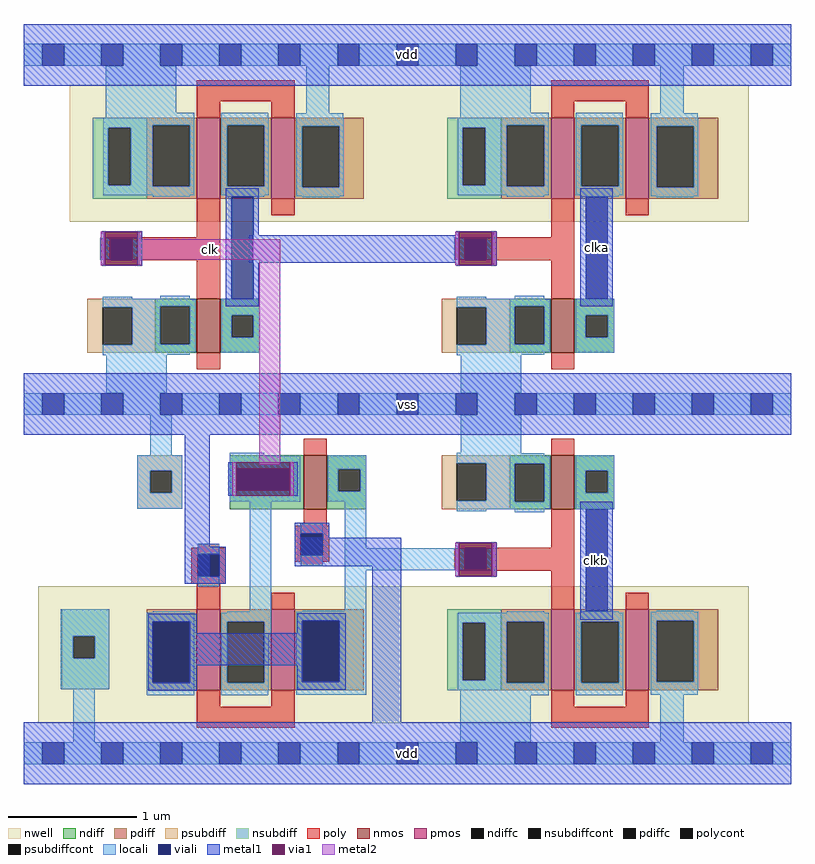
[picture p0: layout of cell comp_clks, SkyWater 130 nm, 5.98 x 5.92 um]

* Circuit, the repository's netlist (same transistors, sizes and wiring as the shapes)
* SPICE3 file created from comp_clks.ext - technology: sky130A

X0 clkt GND clk vdda sky130_fd_pr__pfet_01v8 ad=0p pd=0u as=0p ps=0u w=630000u l=180000u
X1 clk GND clkt vdda sky130_fd_pr__pfet_01v8 ad=0p pd=0u as=0p ps=0u w=630000u l=180000u
X2 clkt vdda clk GND sky130_fd_pr__nfet_01v8 ad=0p pd=0u as=0p ps=0u w=420000u l=180000u
X3 clki clk GND GND sky130_fd_pr__nfet_01v8 ad=0p pd=0u as=0p ps=0u w=420000u l=180000u
X4 vdda clk clki vdda sky130_fd_pr__pfet_01v8 ad=0p pd=0u as=0p ps=0u w=630000u l=180000u
X5 clki clk vdda vdda sky130_fd_pr__pfet_01v8 ad=0p pd=0u as=0p ps=0u w=630000u l=180000u
X6 clka clki GND GND sky130_fd_pr__nfet_01v8 ad=0p pd=0u as=0p ps=0u w=420000u l=180000u
X7 vdda clki clka vdda sky130_fd_pr__pfet_01v8 ad=0p pd=0u as=0p ps=0u w=630000u l=180000u
X8 clka clki vdda vdda sky130_fd_pr__pfet_01v8 ad=0p pd=0u as=0p ps=0u w=630000u l=180000u
X9 clkb clkt GND GND sky130_fd_pr__nfet_01v8 ad=0p pd=0u as=0p ps=0u w=420000u l=180000u
X10 vdda clkt clkb vdda sky130_fd_pr__pfet_01v8 ad=0p pd=0u as=0p ps=0u w=630000u l=180000u
X11 clkb clkt vdda vdda sky130_fd_pr__pfet_01v8 ad=0p pd=0u as=0p ps=0u w=630000u l=180000u

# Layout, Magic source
magic
tech sky130B
magscale 1 2
<< nwell >>
rect 577 332 627 545
rect 576 -449 630 -236
<< locali >>
rect 530 -211 674 -177
<< metal1 >>
rect 0 544 1196 640
rect 351 268 677 311
rect 867 200 918 384
rect 0 0 1196 96
rect 251 -232 290 0
rect 422 -205 588 -160
rect 543 -448 588 -205
rect 867 -288 918 -104
rect 0 -544 1196 -448
<< metal2 >>
rect 182 273 400 305
rect 367 -47 400 273
use inverter  inverter_0
transform 1 0 276 0 1 128
box -276 -128 368 512
use inverter  inverter_1
transform 1 0 828 0 1 128
box -276 -128 368 512
use inverter  inverter_2
transform 1 0 828 0 -1 -32
box -276 -128 368 512
use tg  tg_0
transform 1 0 276 0 -1 -32
box -276 -128 368 512
<< labels >>
flabel metal1 0 544 1196 640 1 FreeSans 320 0 0 0 vdd
port 1 n default bidirectional
flabel metal1 0 -544 1196 -448 1 FreeSans 320 0 0 0 vdd
flabel metal1 0 0 1196 96 1 FreeSans 320 0 0 0 vss
port 2 n default bidirectional
flabel metal2 182 273 400 305 1 FreeSans 320 0 0 0 clk
port 3 n default input
flabel metal1 867 200 918 384 1 FreeSans 320 0 0 0 clka
port 4 n default output
flabel metal1 867 -288 918 -104 1 FreeSans 320 0 0 0 clkb
port 5 n default output
<< end >>

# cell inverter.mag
magic
tech sky130B
magscale 1 2
<< nwell >>
rect -204 204 302 417
<< nmos >>
rect -6 0 30 84
<< pmos >>
rect -6 240 30 366
rect 110 240 146 366
<< ndiff >>
rect -71 72 -6 84
rect -71 13 -63 72
rect -17 13 -6 72
rect -71 0 -6 13
rect 30 58 92 84
rect 30 24 48 58
rect 82 24 92 58
rect 30 0 92 24
<< pdiff >>
rect -84 354 -6 366
rect -84 259 -75 354
rect -17 259 -6 354
rect -84 240 -6 259
rect 30 354 110 366
rect 30 259 41 354
rect 99 259 110 354
rect 30 240 110 259
rect 146 353 254 366
rect 146 258 158 353
rect 216 258 254 353
rect 146 240 254 258
<< ndiffc >>
rect -63 13 -17 72
rect 48 24 82 58
<< pdiffc >>
rect -75 259 -17 354
rect 41 259 99 354
rect 158 258 216 353
<< psubdiff >>
rect -177 71 -71 84
rect -177 12 -153 71
rect -107 12 -71 71
rect -177 0 -71 12
<< nsubdiff >>
rect -168 350 -84 366
rect -168 261 -144 350
rect -109 261 -84 350
rect -168 240 -84 261
<< psubdiffcont >>
rect -153 12 -107 71
<< nsubdiffcont >>
rect -144 261 -109 350
<< poly >>
rect -6 392 146 424
rect -6 366 30 392
rect 110 366 146 392
rect -151 180 -95 189
rect -6 180 30 240
rect 110 214 146 240
rect -151 179 30 180
rect -157 145 -141 179
rect -107 145 30 179
rect -151 144 30 145
rect -151 135 -95 144
rect -6 84 30 144
rect -6 -26 30 0
<< polycont >>
rect -141 145 -107 179
<< locali >>
rect -276 447 -247 481
rect -213 447 -155 481
rect -121 447 -63 481
rect -29 447 29 481
rect 63 447 121 481
rect 155 447 213 481
rect 247 447 305 481
rect 339 447 368 481
rect -148 374 -38 447
rect -148 366 -10 374
rect -152 354 -10 366
rect -152 350 -75 354
rect -152 261 -144 350
rect -109 261 -75 350
rect -152 259 -75 261
rect -17 259 -10 354
rect -152 245 -10 259
rect 32 366 105 374
rect 164 373 200 447
rect 32 354 106 366
rect 32 259 41 354
rect 99 259 106 354
rect 32 245 106 259
rect 149 365 222 373
rect 149 353 223 365
rect 149 258 158 353
rect 216 258 223 353
rect -75 243 -17 245
rect 41 243 99 245
rect 149 244 223 258
rect -157 145 -141 179
rect -107 145 -91 179
rect -153 84 -107 87
rect -63 84 -17 89
rect 158 242 216 244
rect -153 83 -17 84
rect -153 72 -8 83
rect -153 71 -63 72
rect -107 13 -63 71
rect -17 13 -8 72
rect -107 12 -8 13
rect -153 1 -8 12
rect 32 58 92 84
rect 32 24 48 58
rect 82 24 92 58
rect -153 -3 -17 1
rect 32 0 92 24
rect -153 -4 -53 -3
rect -147 -63 -53 -4
rect -276 -97 -247 -63
rect -213 -97 -155 -63
rect -121 -97 -63 -63
rect -29 -97 29 -63
rect 63 -97 121 -63
rect 155 -97 213 -63
rect 247 -97 305 -63
rect 339 -97 368 -63
<< viali >>
rect -247 447 -213 481
rect -155 447 -121 481
rect -63 447 -29 481
rect 29 447 63 481
rect 121 447 155 481
rect 213 447 247 481
rect 305 447 339 481
rect -141 145 -107 179
rect 48 84 82 243
rect -247 -97 -213 -63
rect -155 -97 -121 -63
rect -63 -97 -29 -63
rect 29 -97 63 -63
rect 121 -97 155 -63
rect 213 -97 247 -63
rect 305 -97 339 -63
<< metal1 >>
rect -276 481 368 512
rect -276 447 -247 481
rect -213 447 -155 481
rect -121 447 -63 481
rect -29 447 29 481
rect 63 447 121 481
rect 155 447 213 481
rect 247 447 305 481
rect 339 447 368 481
rect -276 416 368 447
rect 39 243 90 256
rect -154 188 -91 189
rect -156 136 -150 188
rect -98 136 -91 188
rect -154 135 -91 136
rect 39 84 48 243
rect 82 84 90 243
rect 39 72 90 84
rect -276 -63 368 -32
rect -276 -97 -247 -63
rect -213 -97 -155 -63
rect -121 -97 -63 -63
rect -29 -97 29 -63
rect 63 -97 121 -63
rect 155 -97 213 -63
rect 247 -97 305 -63
rect 339 -97 368 -63
rect -276 -128 368 -97
<< via1 >>
rect -150 179 -98 188
rect -150 145 -141 179
rect -141 145 -107 179
rect -107 145 -98 179
rect -150 136 -98 145
<< metal2 >>
rect -156 136 -150 188
rect -98 136 -92 188
<< labels >>
flabel metal2 -141 145 -107 179 0 FreeSans 160 0 0 0 in
port 2 nsew default input
flabel viali 48 84 82 243 0 FreeSans 160 0 0 0 out
port 3 nsew default output
flabel metal1 -29 -128 29 -32 1 FreeSans 320 0 0 0 vss
port 4 n default bidirectional
flabel metal1 -10 416 84 512 1 FreeSans 320 0 0 0 vdd
port 5 n default bidirectional
<< end >>

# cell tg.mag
magic
tech sky130B
magscale 1 2
<< nwell >>
rect -253 204 302 417
<< nmos >>
rect 160 0 196 84
<< pmos >>
rect -6 240 30 366
rect 110 240 146 366
<< ndiff >>
rect 45 54 160 84
rect 45 20 55 54
rect 139 20 160 54
rect 45 0 160 20
rect 196 56 258 84
rect 196 22 214 56
rect 248 22 258 56
rect 196 0 258 22
<< pdiff >>
rect -84 354 -6 366
rect -84 259 -75 354
rect -17 259 -6 354
rect -84 240 -6 259
rect 30 354 110 366
rect 30 259 41 354
rect 99 259 110 354
rect 30 240 110 259
rect 146 353 254 366
rect 146 258 158 353
rect 216 258 254 353
rect 146 240 254 258
<< ndiffc >>
rect 55 20 139 54
rect 214 22 248 56
<< pdiffc >>
rect -75 259 -17 354
rect 41 259 99 354
rect 158 258 216 353
<< psubdiff >>
rect -99 58 -29 83
rect -99 24 -79 58
rect -45 24 -29 58
rect -99 0 -29 24
<< nsubdiff >>
rect -217 316 -143 364
rect -217 282 -199 316
rect -165 282 -143 316
rect -217 240 -143 282
<< psubdiffcont >>
rect -79 24 -45 58
<< nsubdiffcont >>
rect -199 282 -165 316
<< poly >>
rect -6 392 146 424
rect -6 366 30 392
rect 110 366 146 392
rect -6 200 30 240
rect 110 214 146 240
rect -15 188 39 200
rect -15 154 -5 188
rect 29 154 39 188
rect 156 166 190 172
rect -15 144 39 154
rect 146 156 200 166
rect -5 138 29 144
rect 146 122 156 156
rect 190 122 200 156
rect 146 110 200 122
rect 155 106 196 110
rect 160 84 196 106
rect 160 -26 196 0
<< polycont >>
rect -5 154 29 188
rect 156 122 190 156
<< locali >>
rect -276 447 -247 481
rect -213 447 -155 481
rect -121 447 -63 481
rect -29 447 29 481
rect 63 447 121 481
rect 155 447 213 481
rect 247 447 305 481
rect 339 447 368 481
rect -199 364 -165 447
rect -218 316 -143 364
rect -218 282 -199 316
rect -165 282 -143 316
rect -218 240 -143 282
rect -84 354 -10 374
rect -84 259 -75 354
rect -17 259 -10 354
rect -84 245 -10 259
rect 32 366 105 374
rect 32 354 106 366
rect 32 259 41 354
rect 99 277 106 354
rect 149 353 258 373
rect 99 259 110 277
rect 32 245 110 259
rect -75 243 -17 245
rect 41 243 110 245
rect 149 258 158 353
rect 216 258 258 353
rect 149 244 258 258
rect -5 188 29 204
rect -5 138 29 154
rect -99 58 -29 83
rect 76 72 110 243
rect 158 242 258 244
rect 156 156 190 172
rect 156 106 190 122
rect 224 72 258 242
rect -99 24 -79 58
rect -45 24 -29 58
rect -99 0 -29 24
rect 45 54 155 72
rect 45 20 55 54
rect 139 20 155 54
rect 45 1 155 20
rect 198 56 258 72
rect 198 22 214 56
rect 248 22 258 56
rect -79 -63 -45 0
rect 45 -4 99 1
rect 198 0 258 22
rect -276 -97 -247 -63
rect -213 -97 -155 -63
rect -121 -97 -63 -63
rect -29 -97 29 -63
rect 63 -97 121 -63
rect 155 -97 213 -63
rect 247 -97 305 -63
rect 339 -97 368 -63
<< viali >>
rect -247 447 -213 481
rect -155 447 -121 481
rect -63 447 -29 481
rect 29 447 63 481
rect 121 447 155 481
rect 213 447 247 481
rect 305 447 339 481
rect -75 259 -17 354
rect 158 258 216 353
rect -5 154 29 188
rect 156 122 190 156
rect 55 20 139 54
rect -247 -97 -213 -63
rect -155 -97 -121 -63
rect -63 -97 -29 -63
rect 29 -97 63 -63
rect 121 -97 155 -63
rect 213 -97 247 -63
rect 305 -97 339 -63
<< metal1 >>
rect -276 481 368 512
rect -276 447 -247 481
rect -213 447 -155 481
rect -121 447 -63 481
rect -29 447 29 481
rect 63 447 121 481
rect 155 447 213 481
rect 247 447 305 481
rect 339 447 368 481
rect -276 417 368 447
rect -276 416 149 417
rect 204 416 368 417
rect -82 354 -6 367
rect -82 259 -75 354
rect -17 327 -6 354
rect 150 353 226 365
rect 150 327 158 353
rect -17 277 158 327
rect -17 259 -6 277
rect -82 247 -6 259
rect 150 258 158 277
rect 216 258 226 353
rect 150 246 226 258
rect -19 188 39 200
rect -19 154 -5 188
rect 29 154 39 188
rect -19 142 39 154
rect 146 156 200 173
rect 146 122 156 156
rect 190 122 200 156
rect 146 105 200 122
rect 43 11 55 63
rect 139 11 151 63
rect -276 -63 368 -32
rect -276 -97 -247 -63
rect -213 -97 -155 -63
rect -121 -97 -63 -63
rect -29 -97 29 -63
rect 63 -97 121 -63
rect 155 -97 213 -63
rect 247 -97 305 -63
rect 339 -97 368 -63
rect -276 -128 368 -97
<< via1 >>
rect 55 54 139 63
rect 55 20 139 54
rect 55 11 139 20
<< metal2 >>
rect 49 11 55 63
rect 139 11 145 63
<< labels >>
flabel metal1 -5 154 29 188 1 FreeSans 400 0 0 0 ctrl_
port 1 n default input
flabel metal1 156 122 190 156 1 FreeSans 400 0 0 0 ctrl
port 2 n default input
flabel metal2 55 20 139 54 1 FreeSans 400 0 0 0 in
port 5 n default input
flabel ndiffc 214 22 248 56 0 FreeSans 160 0 0 0 out
port 6 nsew default output
flabel metal1 -29 416 29 512 1 FreeSans 320 0 0 0 vdd
port 7 n default bidirectional
flabel metal1 -29 -128 29 -32 1 FreeSans 320 0 0 0 vss
port 8 n default bidirectional
<< end >>
